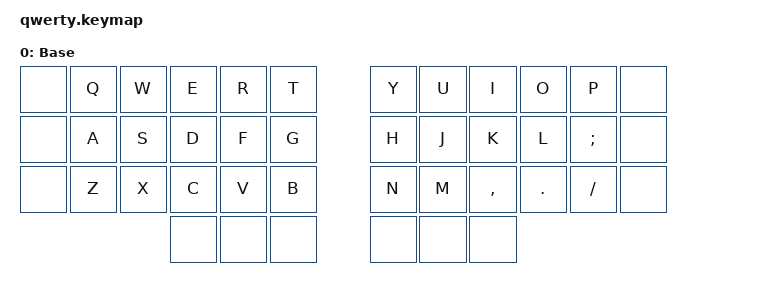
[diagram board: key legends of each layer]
#include <behaviors.dtsi>
#include <dt-bindings/zmk/keys.h>

/ {
    keymap {
        compatible = "zmk,keymap";

        Base {
            bindings = <
&none  &kp Q  &kp W  &kp E  &kp R  &kp T    &kp Y  &kp U  &kp I      &kp O       &kp P          &none
&none  &kp A  &kp S  &kp D  &kp F  &kp G    &kp H  &kp J  &kp K      &kp L       &kp SEMICOLON  &none
&none  &kp Z  &kp X  &kp C  &kp V  &kp B    &kp N  &kp M  &kp COMMA  &kp PERIOD  &kp SLASH      &none
                     &none  &none  &none    &none  &none  &none
            >;
        };
    };
};
